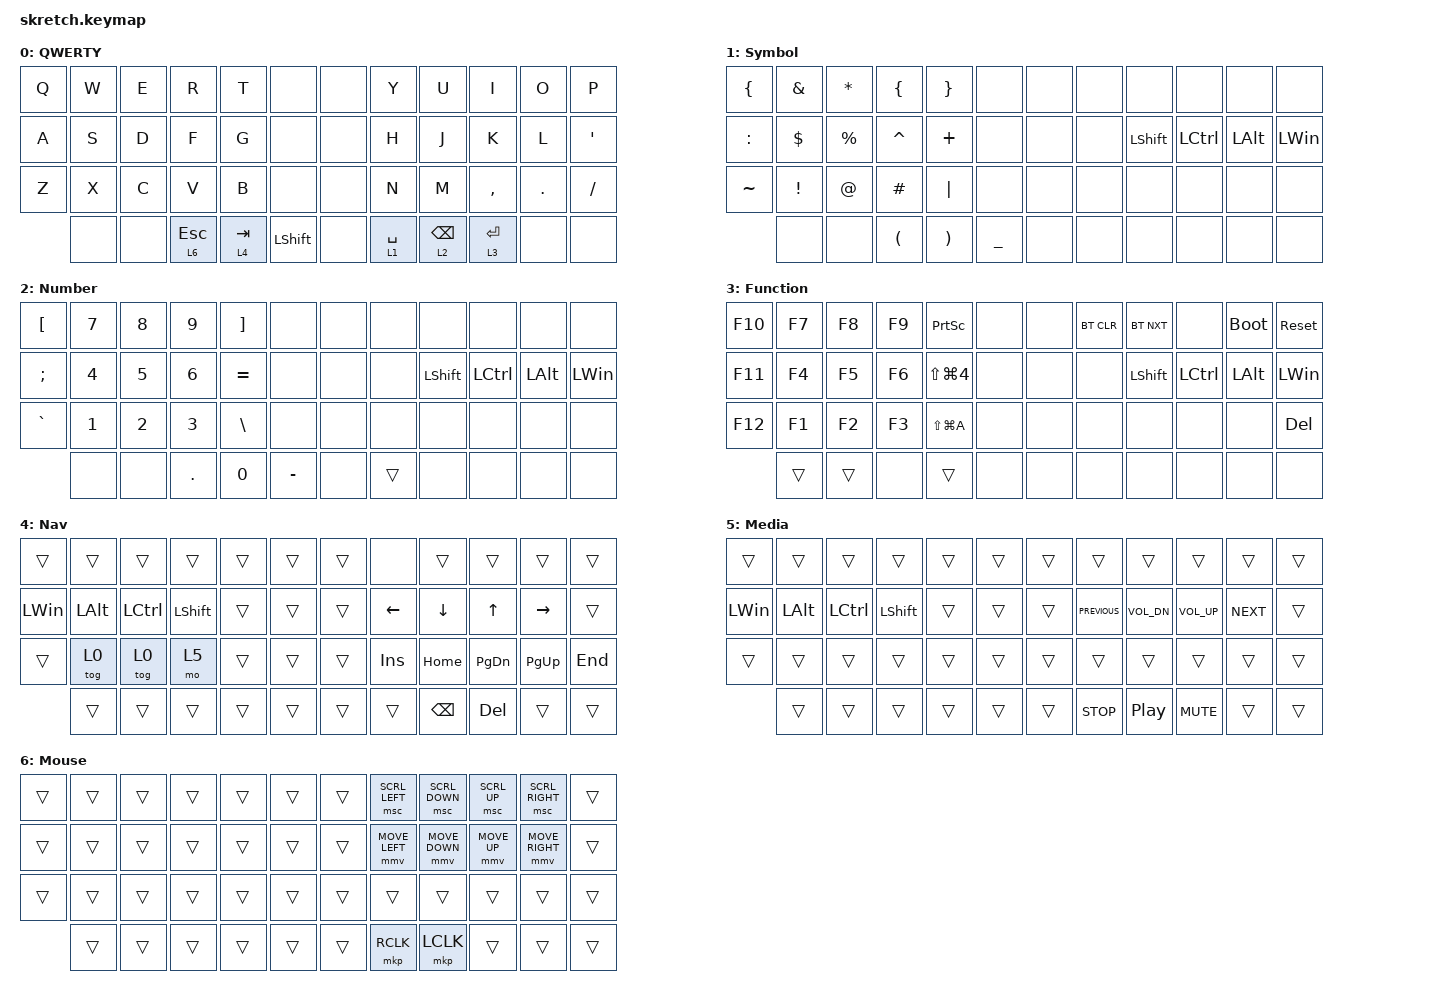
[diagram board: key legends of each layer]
#include <dt-bindings/zmk/mouse.h>
#include <behaviors.dtsi>
#include <dt-bindings/zmk/bt.h>
#include <dt-bindings/zmk/keys.h>
#include <dt-bindings/zmk/pointing.h>

#define ZMK_POINTING_DEFAULT_MOVE_VAL 1800
#define ZMK_POINTING_DEFAULT_SCRL_VAL 20


&mmv {
    x-input-code = <INPUT_REL_X>;
    y-input-code = <INPUT_REL_Y>;
    time-to-max-speed-ms = <400>;/* <--- How long time until max speed is reached (default: 500) */
    acceleration-exponent = <1>;
};

/ {
    combos {
        compatible = "zmk,combos";

        OS1 {
            bindings = <&kp LEFT_WIN>;
            key-positions = <15 12>;
            layers = <0>;
        };

        OS2 {
            bindings = <&kp LEFT_WIN>;
            key-positions = <23 20>;
            layers = <0>;
        };

        Ctrl1 {
            bindings = <&kp LCTRL>;
            key-positions = <15 14>;
            layers = <0>;
        };

        Ctrl2 {
            bindings = <&kp LCTRL>;
            key-positions = <20 21>;
            layers = <0>;
        };

        Alt1 {
            bindings = <&kp LEFT_ALT>;
            key-positions = <15 13>;
            layers = <0>;
        };

        Alt2 {
            bindings = <&kp LEFT_ALT>;
            key-positions = <20 22>;
            layers = <0>;
        };

        Ctrl_Alt1 {
            bindings = <&kp LC(LEFT_ALT)>;
            key-positions = <15 14 13>;
            layers = <0>;
        };

        Ctrl_Alt2 {
            bindings = <&kp LC(LEFT_ALT)>;
            key-positions = <21 20 22>;
            layers = <0>;
        };

        OS_Ctrl1 {
            bindings = <&kp LG(LCTRL)>;
            key-positions = <15 14 12>;
            layers = <0>;
        };

        OS_Ctrl2 {
            bindings = <&kp LG(LCTRL)>;
            key-positions = <20 23 21>;
            layers = <0>;
        };

        OS_Alt1 {
            bindings = <&kp LG(LEFT_ALT)>;
            key-positions = <15 13 12>;
            layers = <0>;
        };

        OS_Alt2 {
            bindings = <&kp LG(LEFT_ALT)>;
            key-positions = <20 22 23>;
            layers = <0>;
        };

        OS_Alt_Ctrl1 {
            bindings = <&kp LG(LC(LCTRL))>;
            key-positions = <15 14 13 12>;
            layers = <0>;
        };

        OS_Alt_Ctrl2 {
            bindings = <&kp LG(LA(LCTRL))>;
            key-positions = <20 21 22 23>;
            layers = <0>;
        };
    };

    keymap {
        compatible = "zmk,keymap";

        QWERTY {
            bindings = <
&kp Q  &kp W  &kp E  &kp R         &kp T      &none           &none  &kp Y        &kp U            &kp I        &kp O    &kp P
&kp A  &kp S  &kp D  &kp F         &kp G      &none           &none  &kp H        &kp J            &kp K        &kp L    &kp SQT
&kp Z  &kp X  &kp C  &kp V         &kp B      &none           &none  &kp N        &kp M            &kp COMMA    &kp DOT  &kp SLASH
       &none  &none  &lt 6 ESCAPE  &lt 4 TAB  &kp LEFT_SHIFT  &none  &lt 1 SPACE  &lt 2 BACKSPACE  &lt 3 ENTER  &none    &none
            >;
        };

        Symbol {
            bindings = <
&kp LEFT_BRACE  &kp AMPERSAND    &kp ASTERISK  &kp LEFT_BRACE        &kp RIGHT_BRACE        &none           &none  &none  &none           &none      &none         &none
&kp COLON       &kp DOLLAR       &kp PERCENT   &kp CARET             &kp PLUS               &none           &none  &none  &kp LEFT_SHIFT  &kp LCTRL  &kp LEFT_ALT  &kp LEFT_WIN
&kp TILDE       &kp EXCLAMATION  &kp AT_SIGN   &kp HASH              &kp PIPE               &none           &none  &none  &none           &none      &none         &none
                &none            &none         &kp LEFT_PARENTHESIS  &kp RIGHT_PARENTHESIS  &kp UNDERSCORE  &none  &none  &none           &none      &none         &none
            >;
        };

        Number {
            bindings = <
&kp LEFT_BRACKET  &kp NUMBER_7  &kp NUMBER_8  &kp NUMBER_9  &kp RIGHT_BRACKET  &none      &none  &none   &none           &none      &none         &none
&kp SEMICOLON     &kp NUMBER_4        &kp NUMBER_5        &kp NUMBER_6        &kp EQUAL          &none      &none  &none   &kp LEFT_SHIFT  &kp LCTRL  &kp LEFT_ALT  &kp LEFT_WIN
&kp GRAVE         &kp NUMBER_1  &kp NUMBER_2  &kp NUMBER_3  &kp BACKSLASH      &none      &none  &none   &none           &none      &none         &none
                  &none         &none         &kp DOT       &kp NUMBER_0       &kp MINUS  &none  &trans  &none           &none      &none         &none
            >;
        };

        Function {
            bindings = <
&kp F10  &kp F7  &kp F8  &kp F9  &kp PRINTSCREEN       &none  &none  &bt BT_CLR  &bt BT_NXT      &none      &bootloader   &sys_reset
&kp F11  &kp F4  &kp F5  &kp F6  &kp LS(LG(NUMBER_4))  &none  &none  &none       &kp LEFT_SHIFT  &kp LCTRL  &kp LEFT_ALT  &kp LWIN
&kp F12  &kp F1  &kp F2  &kp F3  &kp LS(LG(A))         &none  &none  &none       &none           &none      &none         &kp DEL
         &trans  &trans  &none   &trans                &none  &none  &none       &none           &none      &none         &none
            >;
        };

        Nav {
            bindings = <
&trans        &trans        &trans     &trans          &trans  &trans  &trans  &none       &trans         &trans         &trans       &trans
&kp LEFT_WIN  &kp LEFT_ALT  &kp LCTRL  &kp LEFT_SHIFT  &trans  &trans  &trans  &kp LEFT    &kp DOWN       &kp UP         &kp RIGHT    &trans
&trans        &tog 0        &tog 0     &mo 5           &trans  &trans  &trans  &kp INSERT  &kp HOME       &kp PAGE_DOWN  &kp PAGE_UP  &kp END
              &trans        &trans     &trans          &trans  &trans  &trans  &trans      &kp BACKSPACE  &kp DELETE     &trans       &trans
            >;
        };

        Media {
            bindings = <
&trans        &trans        &trans     &trans      &trans  &trans  &trans  &trans          &trans            &trans           &trans      &trans
&kp LEFT_WIN  &kp LEFT_ALT  &kp LCTRL  &kp LSHIFT  &trans  &trans  &trans  &kp C_PREVIOUS  &kp C_VOL_DN      &kp C_VOLUME_UP  &kp C_NEXT  &trans
&trans        &trans        &trans     &trans      &trans  &trans  &trans  &trans          &trans            &trans           &trans      &trans
              &trans        &trans     &trans      &trans  &trans  &trans  &kp C_STOP      &kp C_PLAY_PAUSE  &kp C_MUTE       &trans      &trans
            >;
        };

        Mouse {
            bindings = <
&trans  &trans  &trans  &trans  &trans  &trans  &trans  &msc SCRL_LEFT  &msc SCRL_DOWN &msc SCRL_UP   &msc SCRL_RIGHT &trans
&trans  &trans  &trans  &trans  &trans  &trans  &trans  &mmv MOVE_LEFT  &mmv MOVE_DOWN  &mmv MOVE_UP  &mmv MOVE_RIGHT &trans
&trans  &trans  &trans  &trans  &trans  &trans  &trans  &trans          &trans          &trans        &trans          &trans
        &trans  &trans  &trans  &trans  &trans  &trans  &mkp RCLK       &mkp LCLK       &trans        &trans          &trans
            >;
        };
    };
};
